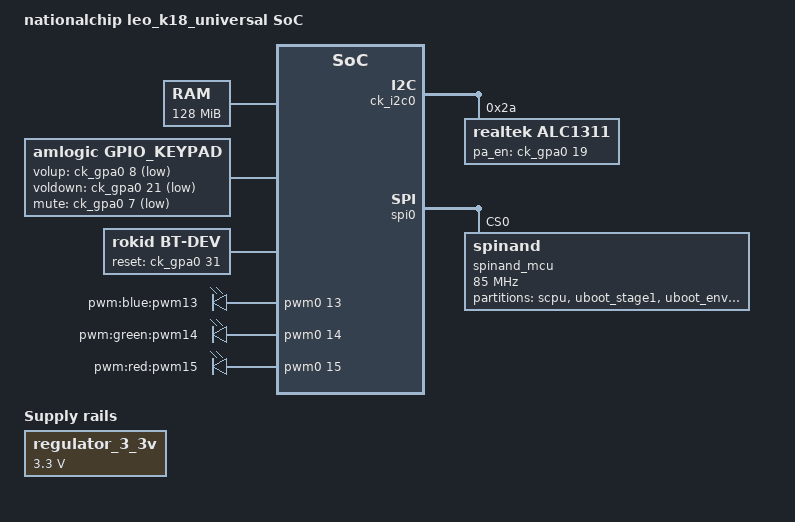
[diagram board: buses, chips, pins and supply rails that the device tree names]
/*
 *  Copyright (C) 2013 Steffen Trumtrar <s.trumtrar@pengutronix.de>
 *
 * This program is free software; you can redistribute it and/or modify
 * it under the terms of the GNU General Public License as published by
 * the Free Software Foundation; either version 2 of the License, or
 * (at your option) any later version.
 *
 * This program is distributed in the hope that it will be useful,
 * but WITHOUT ANY WARRANTY; without even the implied warranty of
 * MERCHANTABILITY or FITNESS FOR A PARTICULAR PURPOSE.  See the
 * GNU General Public License for more details.
 *
 * You should have received a copy of the GNU General Public License
 * along with this program.  If not, see <http://www.gnu.org/licenses/>.
 */

/dts-v1/;
/* First 4KB has trampoline code for secondary cores. */
/* /memreserve/ 0x00000000 0x0001000; */

#include "leo.dtsi"
#include "axp2585.dtsi"

/ {
	model = "nationalchip leo_k18_universal SoC";
	compatible = "nationalchip,leo_k18_universal_1v", "nationalchip,leo";

	chosen {
		bootargs = "earlyprintk";
		stdout-path = "serial0:115200n8";
	};

	memory {
		name = "memory";
		device_type = "memory";
		reg = <0x10000000 0x8000000>;
	};

	aliases {
		/* this allow the ethaddr uboot environmnet variable contents
		 * to be added to the gmac1 device tree blob.
		 */
	};

	regulator_3_3v: vcc3p3-regulator {
		compatible = "regulator-fixed";
		regulator-name = "VCC3P3";
		regulator-min-microvolt = <3300000>;
		regulator-max-microvolt = <3300000>;
	};

	gpio_keypad{
		compatible = "amlogic, gpio_keypad";
		status = "okay";
		scan_period = <20>;

		key_num = <3>;
		key_name = "volup", "voldown" , "mute";
		key_code = <115 114 113>;

		volup-gpio =   <&ck_gpa0 8 GPIO_ACTIVE_LOW>;
		voldown-gpio = <&ck_gpa0 21 GPIO_ACTIVE_LOW>;
		mute-gpio =    <&ck_gpa0 7 GPIO_ACTIVE_LOW>;

		//gpio_high_z = <1>;
		//irq_keyup = <6>;
		//irq_keydown = <7>;
	};

	urat1_control{
		compatible = "nationalchip,LEO_uart_control";
		reg = <0x02308000 0x1000>;
		val = <0x01>;
		cts-gpio = <&gpa0 27 GPIO_ACTIVE_HIGH>;
		rts-gpio = <&gpa0 26 GPIO_ACTIVE_HIGH>;
	};

	gxasoc-machine {
		name = "gxasoc-machine";
		compatible = "NationalChip,ASoc-Machine";
		num_codecs = <1>;
		codec-name     = "alc1311-dev";
		codec-dai-name = "alc1311-dai";
		platform-name  = "gxasoc-platform";
		cup-dai-name   = "gxasoc-platform-dai";
		status = "okay";
	};

	gxasoc-platform_dai {
		dev-name   = "gxasoc-platform-dai";
		compatible = "NationalChip,ASoc-Platform_Dai";
		status = "okay";
	};

	bt-dev{
		compatible = "rokid, bt-dev";
		dev_name = "bt-dev";
		status = "okay";
		reset-gpio = <&ck_gpa0 31 GPIO_ACTIVE_HIGH>;
	};

    pwm_leds {
            compatible = "pwm-leds";
            default-keep-ms = <6000>; /*ms*/
            pwm13_white {
                label = "pwm:blue:pwm13";
                pwms = <&pwm0 13 50000>;
                max-brightness = <255>;
                linux,default-trigger = "default-on";
            };

            pwm14_white {
                label = "pwm:green:pwm14";
                pwms = <&pwm0 14 50000>;
                max-brightness = <255>;
                linux,default-trigger = "default-on";
            };

            pwm15_white {
                label = "pwm:red:pwm15";
                pwms = <&pwm0 15 50000>;
                max-brightness = <255>;
                linux,default-trigger = "default-on";
            };
    };

    led-stage{
		compatible = "rokid, led-stage";
		led_num = <3>;		      //1(led)*3(RGB)
		status = "okay";

		enable_init_light = <2>;   //0:disable,1:enable init_pattern,2:enable init_raw_data
	#if 0
		init_pattern_type = <1>;
		init_pattern_inter_timems = <30>;
	#else
		init_raw_data_length = <60>;   //3*5*4
		init_raw_data_inter_timems = <300>;
		init_raw_data_u8 = /bits/ 8
			<0xFF 0x0  0x0 0x7F 0x0  0x0  0x3F 0x0  0x0  0x1F 0x0  0x0  0x0F 0x0  0x0
			 0x0  0xFF 0x0  0x0  0x7F 0x0  0x0  0x3F 0x0  0x0  0x1F 0x0  0x0  0x0F 0x0
			 0x0  0x0  0xFF 0x0  0x0  0x7F 0x0  0x0  0x3F 0x0  0x0  0x1F 0x0  0x0  0x0F
			 0xFF 0xFF 0xFF 0x7F 0x7F 0x7F 0x3F 0x3F 0x3F 0x1F 0x1F 0x1F 0x0F 0x0F 0x0F>;
		//raw_data explain:
		//t0:led1b led1g led1r led2b led2g ...
		//t1:led1b led1g ...
		//..
	#endif

		enable_ota_light = <2>;
		//0:disable,1:enable init_pattern,2:enable init_raw_data
	#if 0
		ota_pattern_type = <1>;
		ota_pattern_inter_timems = <30>;
	#else
		ota_raw_data_length = <9>;   //3*3
		ota_raw_data_inter_timems = <300>;
		ota_raw_data_u8 = /bits/ 8
			<0xFF 0x0  0x0  0x0 0xFF  0x0  0x0 0x0  0xFF>;
		//raw_data explain:
		//t0:led1b led1g led1r led2b led2g ...
		//t1:led1b led1g ...
		//..
	#endif
	};

    vad_wakelock{
		compatible = "rokid,vad-wakelock";
		timeout_in_s = <3>;
    };

};

&gxasoc_codec{
	status = "disabled";
};

&ck_i2c0{
	status = "okay";
};

&spi0{
	status = "okay";

	/* spi nor flash */
	/*M25P@0 {
		compatible = "jedec,spi-nor";
		spi-max-frequency = <85000000>;
		reg = <1>;
		status = "okay";

		partitions {
			#address-cells = <1>;
			#size-cells = <1>;
			compatible = "fixed-partitions";
			scpu {		reg = <0x000000 0x100000>; };
			uboot_stage1 {	reg = <0x100000 0x40000>;  };
			uboot_env {	reg = <0x140000 0x40000>;  };
			uboot_stage2 {	reg = <0x180000 0x80000>;  };
			boot_music {	reg = <0x200000 0x80000>;  };
			kernel_dtb {	reg = <0x280000 0x80000>;  };
			kernel {	reg = <0x300000 0x500000>; };
		};
	};*/

	/* spi nand flash */
	spinand_mcu@0 {
		compatible = "spinand";
		spi-max-frequency = <85000000>;
		reg = <0>;
		status = "okay";

		partitions {
			#address-cells = <1>;
			#size-cells = <1>;
			compatible = "fixed-partitions";
			scpu {		reg = <0x000000 0x100000>; };
			uboot_stage1 {	reg = <0x100000 0x40000>;  };
			uboot_env {	reg = <0x140000 0x40000>;  };
			uboot_stage2 {	reg = <0x180000 0x80000>;  };
			boot_music {	reg = <0x200000 0x80000>;  };
			kernel_dtb {	reg = <0x280000 0x80000>;  };
			kernel {	reg = <0x300000 0x700000>; };
			rootfs {	reg = <0xa00000 0x7600000>;};
		};
	};

};

#if 0
&spi1{
	lcd0:sh1106@0{
		compatible = "sinowealth,sh1106";
		reg = <0>;
		status ="okay";
		spi-max-frequency = <15000000>;
		width = <128>;
		height = <64>;
		buswidth = <8>;
		dc-gpios = <&gpa1 1 GPIO_ACTIVE_HIGH>;
		reset-gpios = <&gpa0 29 GPIO_ACTIVE_HIGH>;
		     };
};

#endif

&mmc0{
	status = "disabled";
};

&mmc1 {
	wlan_on-gpio = <&ck_gpa0 30 GPIO_ACTIVE_HIGH>;
};

&ck_i2c0{
	alc1311@2a {
		compatible = "realtek,alc1311";
		dev-name = "alc1311-dev";
		dai-name = "alc1311-dai";
		reg = <0x2a>;
		//init-vol = <0x3e>;
		//hp_det-gpio = <&gpa1 8 GPIO_ACTIVE_HIGH>;
		//hp_pa_shdn-gpio = <&gpa1 9 GPIO_ACTIVE_HIGH>;
		pa_en-gpio = <&ck_gpa0 19 GPIO_ACTIVE_HIGH>;
		};


};

